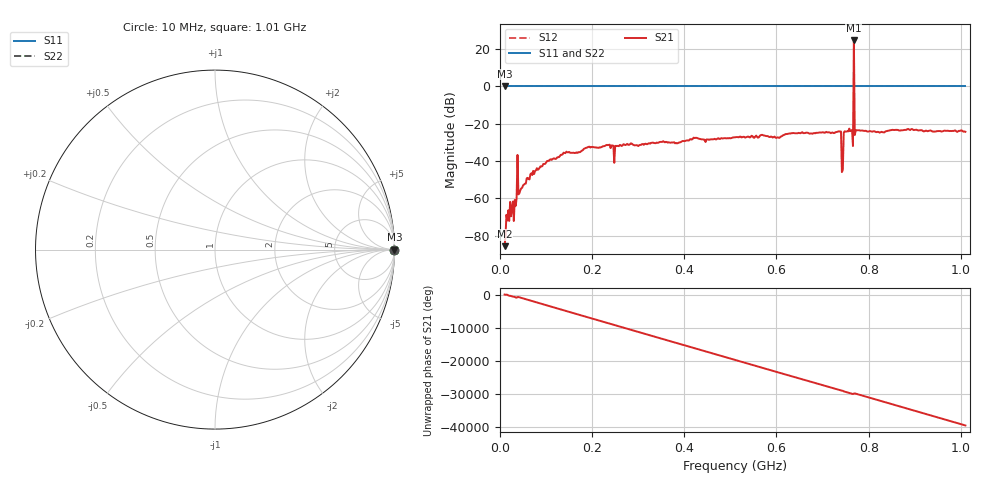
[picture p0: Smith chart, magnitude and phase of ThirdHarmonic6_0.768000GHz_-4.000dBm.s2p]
! 8/16/2025 1:39:03 AM
! C:\ANRITSUVNA\TEMP\TEMP.S2P
! CHANNEL.1
! TR.MEASUREMENT
! RAW.DATA
! RF.CORRECTION.OFF
! AVERAGING.OFF
! IF.BANDWIDTH: 5KHZ
! SWEEPTYPE:  FREQ.SWEEP(Linear)
! Reference Plane Port Info
! PORT:  PORT1  PORT2
! DISTANCE:  0  m  0  m
! TIME:  0  s  0  s
! PHASE.OFFSET:  0  deg.  0  deg.
! LOSS:  0  dB  0  dB
! REF.LOSS:  0  dB  0  dB
! REF.FREQ:  0  Hz  0  Hz
! Power Info
! POWER:  -20  dBm  -20  dBm
! EFF.POWER:  -20  dBm  -20  dBm
! SOURCE.ATTEN:  0  dB  0  dB
! TEST.ATTEN:  0  dB  0  dB
# GHZ S RI R 50.0
! FREQ.GHZ  S11RE  S11IM  S21RE  S21IM  S12RE  S12IM  S22RE  S22IM
!; PortSelection: Port_12
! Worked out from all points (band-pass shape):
!   501 points, 10 MHz to 1.01 GHz, reference 50 ohm
!   highest |S21| = 24.37 dB at 768 MHz (marker M1); lowest = -85.5 dB at 10 MHz (marker M2)
!   |S21| within 3 dB of the highest: 767.8936 MHz to 768.1188 MHz (225.2 kHz wide, 0.0293 % of centre)
!   lowest |S11| = 0.0 dB at 10 MHz (marker M3)
!   |S11| at or under -10 dB: nowhere
!   |S22| runs from 0.0 to 0.0 dB; largest |S21 - S12| = 16
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0.01  1 0  2.27e-05 4.8e-05  1 0  1 0
0.018  1 0  -0.000479 6.61e-05  1 0  1 0
0.032  1 0  0.000479 0.000772  1 0  1 0
0.036  1 0  -0.000924 -0.000333  1 0  1 0
0.042  1 0  0.000873 -0.00106  1 0  1 0
0.044  1 0  -0.000767 -0.00145  1 0  1 0
0.106  1 0  -0.00729 -0.00693  1 0  1 0
0.178  1 0  -0.0185 -0.00436  1 0  1 0
0.344  1 0  0.0301 -0.00636  1 0  1 0
0.51  1 0  -0.0407 0.0138  1 0  1 0
0.678  1 0  -0.0204 -0.0494  1 0  1 0
0.736  1 0  0.0198 0.0587  1 0  1 0
0.742  1 0  -0.00235 -0.00446  1 0  1 0
0.746  1 0  0.0502 0.0278  1 0  1 0
0.75  1 0  -0.0415 -0.0448  1 0  1 0
0.762  1 0  -0.017 0.0624  1 0  1 0
0.764  1 0  0.0615 0.0278  1 0  1 0
0.768  1 0  4.347 15.97  1 0  1 0
0.772  1 0  0.0356 0.0565  1 0  1 0
0.774  1 0  0.0607 -0.0262  1 0  1 0
0.844  1 0  0.0457 0.046  1 0  1 0
1.01  1 0  -0.0585 -0.0146  1 0  1 0
